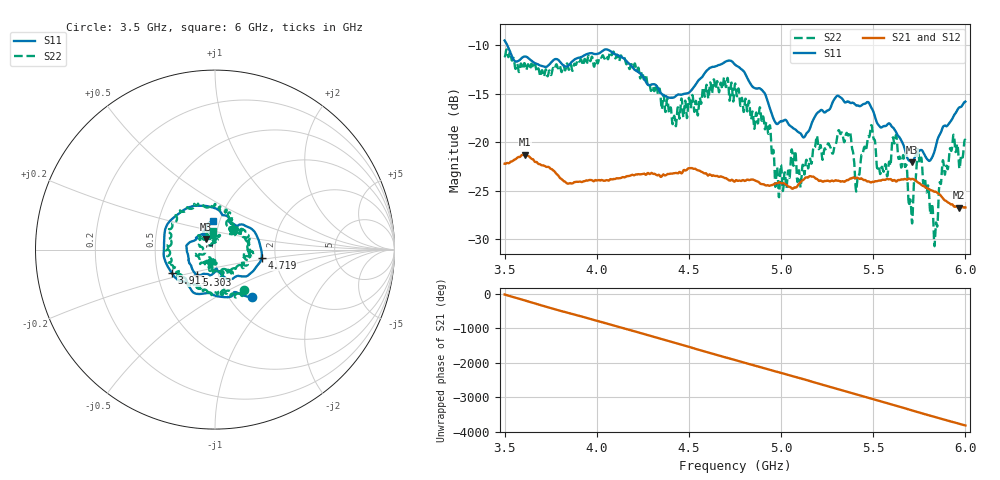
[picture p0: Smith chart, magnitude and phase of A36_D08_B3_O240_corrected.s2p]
! Created with skrf 1.9.0 (http://scikit-rf.org).
# Hz S RI R 50.0
!freq ReS11 ImS11 ReS21 ImS21 ReS12 ImS12 ReS22 ImS22
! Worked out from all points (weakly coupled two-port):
!   1601 points, 3.5 GHz to 6 GHz, reference 50 ohm
!   highest |S21| = -21.30 dB at 3.609 GHz (marker M1); lowest = -26.8 dB at 5.967 GHz (marker M2)
!   lowest |S11| = -22.1 dB at 5.711 GHz (marker M3), VSWR 1.17, Z = 44.8 + j5.41 ohm
!   |S11| at or under -10 dB: 3.514 GHz to end of sweep
!   |S22| runs from -30.7 to -10.4 dB; largest |S21 - S12| = 0.0011
!   S11 on the Smith chart (normalised r, x): 3.5 GHz: 1.27, -0.75; 3.911 GHz: 0.59, -0.17; 4.719 GHz: 1.69, -0.16; 5.303 GHz: 0.78, -0.23; 6 GHz: 0.93, +0.31
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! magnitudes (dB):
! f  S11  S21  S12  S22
! 3.5 GHz  -9.5  -22.2  -22.2  -11.1
! 3.609 GHz  -11.2  -21.3  -21.3  -11.9
! 3.911 GHz  -11.3  -24.1  -24.1  -11.5
! 3.917 GHz  -11.2  -24.1  -24.1  -11.6
! 4.334 GHz  -14.5  -23.4  -23.3  -15.0
! 4.42 GHz  -15.4  -23.2  -23.2  -17.3
! 4.719 GHz  -11.6  -23.9  -24.0  -15.4
! 4.75 GHz  -12.0  -24.0  -24.0  -14.0
! 4.931 GHz  -16.0  -24.5  -24.4  -19.2
! 4.98 GHz  -18.1  -24.3  -24.2  -22.7
! 5.167 GHz  -18.0  -23.6  -23.5  -22.0
! 5.303 GHz  -15.2  -24.0  -24.0  -19.6
! 5.412 GHz  -16.2  -23.7  -23.7  -24.1
! 5.484 GHz  -16.2  -24.2  -24.1  -18.8
! 5.584 GHz  -18.1  -23.8  -23.8  -22.2
! 5.617 GHz  -18.7  -23.9  -23.9  -20.0
! 5.711 GHz  -22.1  -23.8  -23.8  -28.4
! 5.752 GHz  -20.9  -24.2  -24.2  -22.2
! 5.839 GHz  -20.5  -25.1  -25.1  -28.7
! 5.872 GHz  -18.8  -25.7  -25.6  -23.1
! 5.967 GHz  -16.4  -26.8  -26.7  -22.7
! 6 GHz  -15.8  -26.7  -26.7  -19.8
